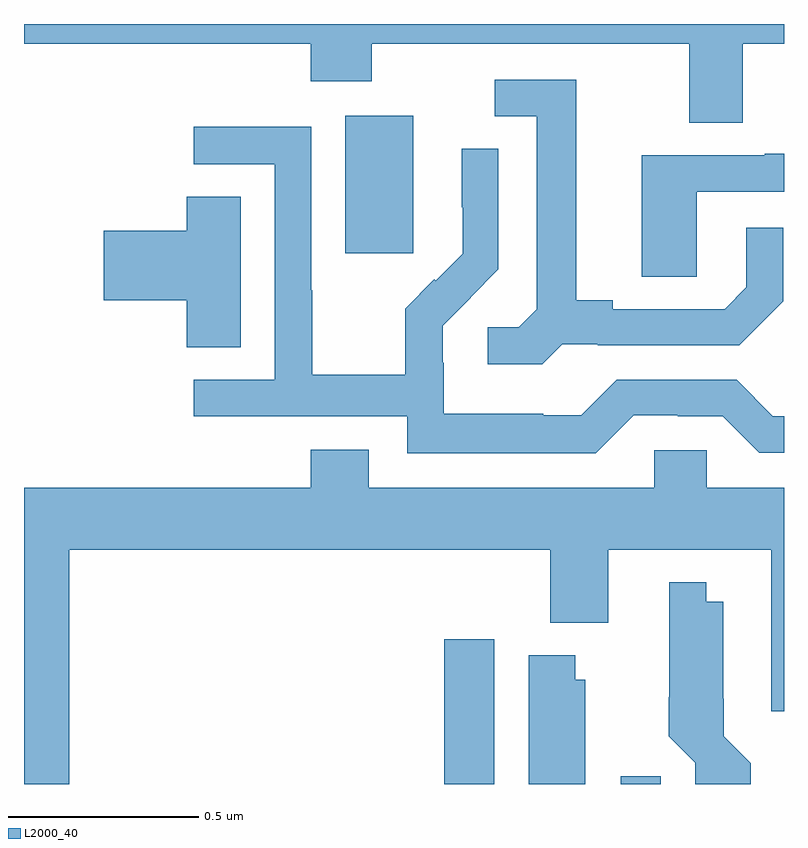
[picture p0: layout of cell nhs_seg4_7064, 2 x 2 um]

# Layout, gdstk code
import gdstk
lib = gdstk.Library(unit=1e-6, precision=1e-09)
def R(c, l, rs):  # rectangles x0, y0, x1, y1
    for r in rs: c.add(gdstk.rectangle(r[:2], r[2:], *l))
def P(c, l, *ps):  # polygons
    for p in ps: c.add(gdstk.Polygon(p, *l))
L2000_40 = (2000, 40)

nhs_seg4_7064 = lib.new_cell('nhs_seg4_7064')
R(nhs_seg4_7064, L2000_40, [(199.106,766.9,199.237,767.281), (199.571,766.9,199.675,766.921), (198.845,768.297,199.024,768.658)])
P(nhs_seg4_7064, L2000_40, [(199.891,768.848),(200,768.848),(200,768.9),(198,768.9),(198,768.848),(198.755,768.848),(198.755,768.749),(198.915,768.749),(198.915,768.848),(199.751,768.848),(199.751,768.64),(199.891,768.64)],
  [(199.416,768.057),(199.51,768.057),(199.51,768.054),(199.882,768.054),(199.998,768.17),(199.998,768.364),(199.901,768.364),(199.901,768.207),(199.844,768.15),(199.549,768.15),(199.549,768.173),(199.453,768.173),(199.453,768.753),(199.239,768.753),(199.239,768.657),(199.349,768.657),(199.349,768.149),(199.302,768.102),(199.221,768.102),(199.221,768.005),(199.364,768.005)],
  [(199.605,767.871),(199.721,767.871),(199.721,767.868),(199.839,767.868),(199.935,767.772),(200,767.772),(200,767.868),(199.971,767.868),(199.875,767.964),(199.56,767.964),(199.467,767.871),(199.367,767.871),(199.367,767.875),(199.104,767.875),(199.104,768.009),(199.102,768.009),(199.102,768.106),(199.176,768.18),(199.175,768.181),(199.248,768.254),(199.248,768.572),(199.152,768.572),(199.152,768.418),(199.154,768.418),(199.154,768.296),(199.083,768.225),(199.08,768.228),(199.003,768.151),(199.003,767.977),(198.759,767.977),(198.759,768.2),(198.756,768.2),(198.756,768.63),(198.447,768.63),(198.447,768.531),(198.66,768.531),(198.66,767.964),(198.447,767.964),(198.447,767.868),(199.008,767.868),(199.008,767.771),(199.505,767.771)],
  [(199.77,768.459),(200,768.459),(200,768.559),(199.949,768.559),(199.949,768.555),(199.625,768.555),(199.625,768.235),(199.77,768.235)],
  [(198.571,768.446),(198.428,768.446),(198.428,768.356),(198.21,768.356),(198.21,768.173),(198.428,768.173),(198.428,768.049),(198.571,768.049)],
  [(198.119,767.516),(199.385,767.516),(199.385,767.324),(199.537,767.324),(199.537,767.516),(199.967,767.516),(199.967,767.091),(200,767.091),(200,767.68),(199.797,767.68),(199.797,767.778),(199.659,767.778),(199.659,767.68),(198.907,767.68),(198.907,767.779),(198.755,767.779),(198.755,767.68),(198,767.68),(198,766.9),(198.119,766.9)],
  [(199.913,766.954),(199.841,767.026),(199.841,767.125),(199.84,767.125),(199.84,767.38),(199.795,767.38),(199.795,767.431),(199.698,767.431),(199.698,767.128),(199.697,767.128),(199.697,767.026),(199.767,766.956),(199.767,766.9),(199.913,766.9)],
  [(199.477,767.175),(199.45,767.175),(199.45,767.239),(199.328,767.239),(199.328,766.9),(199.477,766.9)])

lib.write_gds('nhs_seg4_7064.gds')
